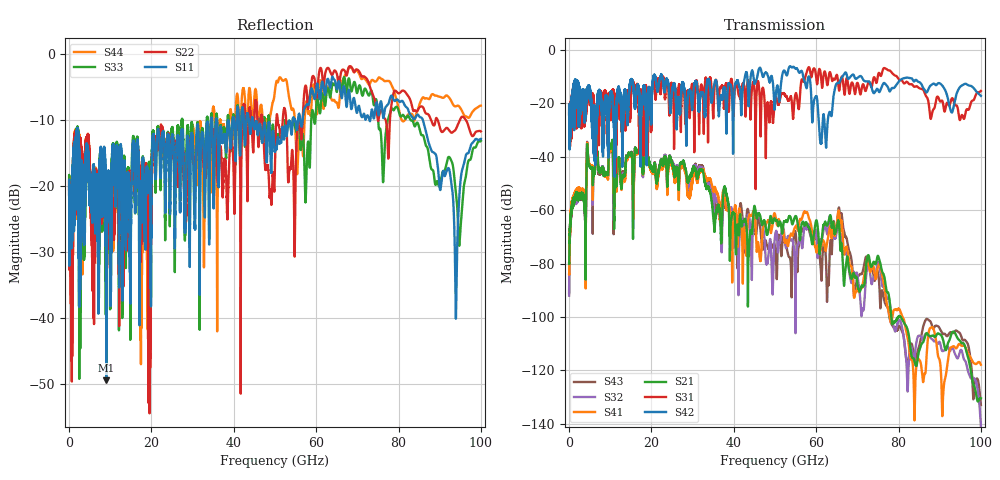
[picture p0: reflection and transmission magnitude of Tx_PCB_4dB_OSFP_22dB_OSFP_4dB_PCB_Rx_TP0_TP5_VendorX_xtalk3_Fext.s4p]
! Info: Touchstone file created by Circ.  Input file=Tx_PCB_4dB_OSFP_22dB_OSFP_4dB_PCB_Rx_TP0_TP5_VendorX.circ
# Hz S RI R 50
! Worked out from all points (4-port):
!   10000 points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, 10 MHz to 100 GHz, reference 50 ohm
!   strongest paths, dB at 10 MHz, 25.01 GHz, 50.01 GHz, 75.01 GHz, 100 GHz:
!     S42: -24.1, -16.0, -20.7, -14.9, -17.2
!     S31: -24.1, -12.9, -18.6, -9.5, -15.3
!     S21: -79.9, -42.1, -63.4, -77.1, -130.4
!     S41: -83.7, -43.0, -61.5, -81.2, -117.8
!     S32: -92.0, -41.6, -69.7, -79.3, -141.0
!     S43: -91.0, -41.5, -73.6, -83.4, -132.9
!   lowest |S11| = -49.4 dB at 9.02 GHz (marker M1), VSWR 1.01, Z = 49.7 + j0.19 ohm
!   |S11| at or under -10 dB: start of sweep to 34.46 GHz; 44.65 GHz to 54.34 GHz (9.69 GHz wide, 19.6 % of centre); 85.9 GHz to end of sweep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
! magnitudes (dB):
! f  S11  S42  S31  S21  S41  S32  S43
! 10 MHz  -21.3  -24.1  -24.1  -79.9  -83.7  -92.0  -91.0
! 4.72 GHz  -15.6  -15.0  -17.1  -42.0  -41.3  -41.7  -41.7
! 9.02 GHz  -49.4  -17.0  -19.9  -46.1  -46.9  -46.0  -46.8
! 48.08 GHz  -15.9  -8.8  -20.4  -69.1  -64.3  -80.0  -73.3
! 64.19 GHz  -3.7  -17.5  -10.7  -64.9  -65.0  -65.1  -64.5
! 93.99 GHz  -38.2  -17.0  -20.7  -106.9  -111.7  -114.7  -105.1
! 100 GHz  -12.9  -17.2  -15.3  -130.4  -117.8  -141.0  -132.9
